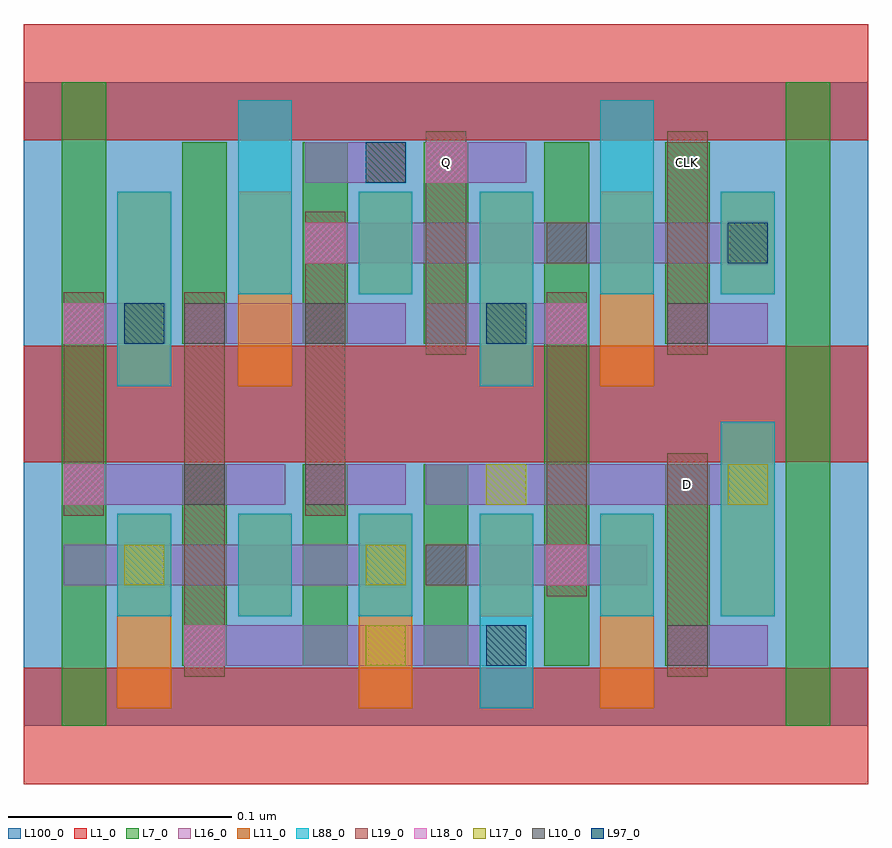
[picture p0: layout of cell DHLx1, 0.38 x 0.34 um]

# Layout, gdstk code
import gdstk
lib = gdstk.Library(unit=1e-6, precision=2.5e-10)
def R(c, l, rs):  # rectangles x0, y0, x1, y1
    for r in rs: c.add(gdstk.rectangle(r[:2], r[2:], *l))
def A(c, l, x, y, w, h, nx, ny, dx, dy):  # array of equal rectangles
    R(c, l, [(x+i*dx, y+j*dy, x+i*dx+w, y+j*dy+h) for i in range(nx) for j in range(ny)])
L1_0 = (1, 0)
L7_0 = (7, 0)
L10_0 = (10, 0)
L11_0 = (11, 0)
L16_0 = (16, 0)
L17_0 = (17, 0)
L18_0 = (18, 0)
L19_0 = (19, 0)
L88_0 = (88, 0)
L97_0 = (97, 0)
L100_0 = (100, 0)

dhlx1 = lib.new_cell('DHLx1')
A(dhlx1, L1_0, 0, -0.026, 0.378, 0.052, 1, 3, 0, 0.144)
A(dhlx1, L7_0, 0.071, 0.027, 0.02, 0.09, 3, 2, 0.054, 0.144)
R(dhlx1, L7_0, [(0.017,0,0.037,0.144), (0.341,0,0.361,0.144), (0.233,0.027,0.253,0.144), (0.287,0.027,0.307,0.117), (0.017,0.144,0.037,0.288), (0.233,0.144,0.253,0.261), (0.341,0.144,0.361,0.288), (0.287,0.171,0.307,0.261)])
R(dhlx1, L10_0, [(0.288,0.027,0.306,0.045), (0.18,0.063,0.198,0.081), (0.072,0.099,0.09,0.117), (0.126,0.099,0.144,0.117), (0.072,0.171,0.09,0.189), (0.126,0.171,0.144,0.189), (0.288,0.171,0.306,0.189), (0.234,0.207,0.252,0.225)])
A(dhlx1, L11_0, 0.042, 0.008, 0.024, 0.087, 3, 1, 0.108, 0)
R(dhlx1, L11_0, [(0.096,0.049,0.12,0.095), (0.204,0.049,0.228,0.095), (0.312,0.049,0.336,0.136), (0.042,0.152,0.066,0.239), (0.096,0.152,0.12,0.239), (0.204,0.152,0.228,0.239), (0.258,0.152,0.282,0.239), (0.15,0.193,0.174,0.239), (0.312,0.193,0.336,0.239)])
R(dhlx1, L16_0, [(0.072,0.027,0.225,0.045), (0.288,0.027,0.333,0.045), (0.018,0.063,0.171,0.081), (0.18,0.063,0.279,0.081), (0.018,0.099,0.117,0.117), (0.126,0.099,0.171,0.117), (0.18,0.099,0.333,0.117), (0.018,0.171,0.063,0.189), (0.072,0.171,0.171,0.189), (0.18,0.171,0.252,0.189), (0.288,0.171,0.333,0.189), (0.126,0.207,0.333,0.225), (0.126,0.243,0.171,0.261), (0.18,0.243,0.225,0.261)])
A(dhlx1, L17_0, 0.207, 0.027, 0.018, 0.018, 1, 3, 0, 0.072)
R(dhlx1, L17_0, [(0.153,0.027,0.171,0.045), (0.045,0.063,0.063,0.081), (0.153,0.063,0.171,0.081), (0.315,0.099,0.333,0.117), (0.045,0.171,0.063,0.189), (0.315,0.207,0.333,0.225), (0.153,0.243,0.171,0.261)])
R(dhlx1, L18_0, [(0.072,0.027,0.09,0.045), (0.288,0.027,0.306,0.045), (0.234,0.063,0.252,0.081), (0.018,0.099,0.036,0.117), (0.126,0.099,0.144,0.117), (0.018,0.171,0.036,0.189), (0.072,0.171,0.09,0.189), (0.234,0.171,0.252,0.189), (0.288,0.171,0.306,0.189), (0.126,0.207,0.144,0.225), (0.18,0.243,0.198,0.261)])
R(dhlx1, L19_0, [(0.072,0.022,0.09,0.194), (0.288,0.022,0.306,0.122), (0.234,0.058,0.252,0.194), (0.018,0.094,0.036,0.194), (0.126,0.094,0.144,0.23), (0.18,0.166,0.198,0.266), (0.288,0.166,0.306,0.266)])
A(dhlx1, L88_0, 0.042, 0.049, 0.024, 0.046, 3, 1, 0.054, 0)
R(dhlx1, L88_0, [(0.204,0.008,0.228,0.095), (0.258,0.049,0.282,0.095), (0.312,0.049,0.336,0.136), (0.042,0.152,0.066,0.239), (0.204,0.152,0.228,0.239), (0.096,0.193,0.12,0.28), (0.15,0.193,0.174,0.239), (0.258,0.193,0.282,0.28), (0.312,0.193,0.336,0.239)])
R(dhlx1, L97_0, [(0.207,0.027,0.225,0.045), (0.045,0.171,0.063,0.189), (0.207,0.171,0.225,0.189), (0.315,0.207,0.333,0.225), (0.153,0.243,0.171,0.261)])
R(dhlx1, L100_0, [(0,0,0.378,0.288)])
dhlx1.add(gdstk.Label('CLK', (0.297,0.252), layer=19, texttype=251))
dhlx1.add(gdstk.Label('D', (0.297,0.108), layer=19, texttype=251))
dhlx1.add(gdstk.Label('Q', (0.189,0.252), layer=19, texttype=251))

lib.write_gds('DHLx1.gds')
